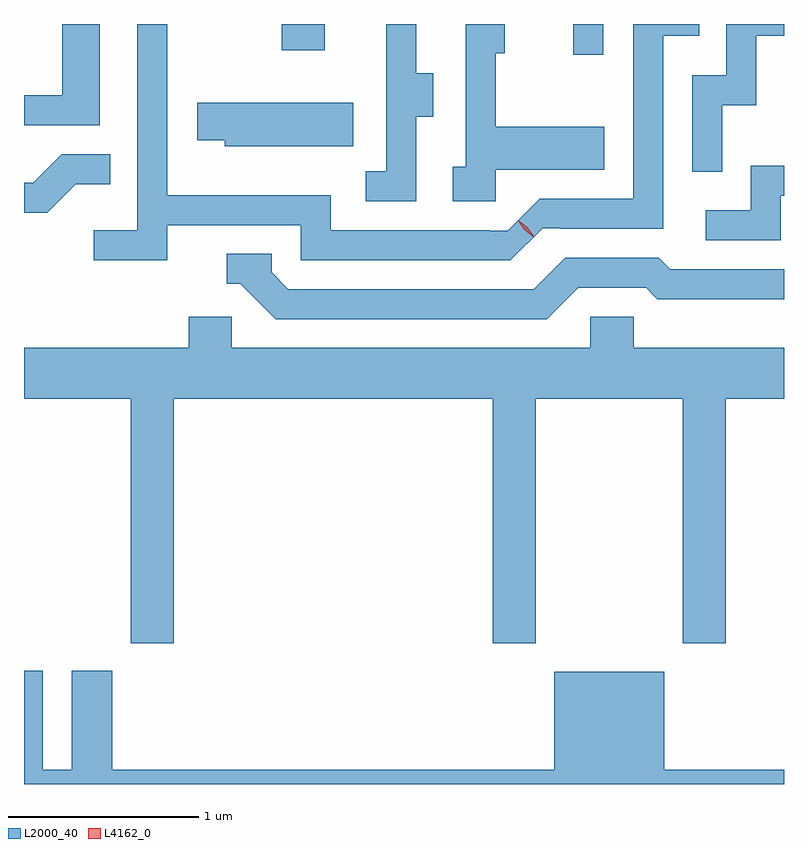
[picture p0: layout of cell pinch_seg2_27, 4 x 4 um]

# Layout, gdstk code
import gdstk
lib = gdstk.Library(unit=1e-6, precision=1e-09)
def R(c, l, rs):  # rectangles x0, y0, x1, y1
    for r in rs: c.add(gdstk.rectangle(r[:2], r[2:], *l))
def P(c, l, *ps):  # polygons
    for p in ps: c.add(gdstk.Polygon(p, *l))
L2000_40 = (2000, 40)
L4162_0 = (4162, 0)

pinch_seg2_27 = lib.new_cell('pinch_seg2_27')
R(pinch_seg2_27, L2000_40, [(1667.276,1041.248,1667.434,1041.409), (1665.741,1041.271,1665.969,1041.409)])
P(pinch_seg2_27, L2000_40, [(1666.449,1040.921),(1666.539,1040.921),(1666.539,1041.149),(1666.449,1041.149),(1666.449,1041.409),(1666.291,1041.409),(1666.291,1040.634),(1666.183,1040.634),(1666.183,1040.476),(1666.449,1040.476)],
  [(1666.869,1040.641),(1667.439,1040.641),(1667.439,1040.869),(1666.869,1040.869),(1666.869,1041.256),(1666.914,1041.256),(1666.914,1041.409),(1666.711,1041.409),(1666.711,1040.659),(1666.641,1040.659),(1666.641,1040.476),(1666.869,1040.476)],
  [(1665.139,1040.351),(1665.841,1040.351),(1665.841,1040.166),(1666.945,1040.166),(1667.114,1040.335),(1667.208,1040.335),(1667.208,1040.331),(1667.749,1040.331),(1667.749,1041.346),(1667.938,1041.346),(1667.938,1041.409),(1667.591,1041.409),(1667.591,1040.489),(1667.099,1040.489),(1666.93,1040.32),(1666.835,1040.32),(1666.835,1040.324),(1665.999,1040.324),(1665.999,1040.509),(1665.139,1040.509),(1665.139,1041.409),(1664.981,1041.409),(1664.981,1040.324),(1664.753,1040.324),(1664.753,1040.166),(1665.139,1040.166)],
  [(1664.784,1041.409),(1664.586,1041.409),(1664.586,1041.034),(1664.385,1041.034),(1664.385,1040.876),(1664.784,1040.876)],
  [(1668.059,1040.981),(1668.239,1040.981),(1668.239,1041.346),(1668.385,1041.346),(1668.385,1041.409),(1668.081,1041.409),(1668.081,1041.139),(1667.901,1041.139),(1667.901,1040.632),(1668.059,1040.632)],
  [(1666.119,1040.994),(1665.296,1040.994),(1665.296,1040.796),(1665.441,1040.796),(1665.441,1040.766),(1666.119,1040.766)],
  [(1664.657,1040.566),(1664.838,1040.566),(1664.838,1040.724),(1664.584,1040.724),(1664.434,1040.574),(1664.385,1040.574),(1664.385,1040.416),(1664.507,1040.416)],
  [(1668.369,1040.506),(1668.385,1040.506),(1668.385,1040.664),(1668.211,1040.664),(1668.211,1040.429),(1667.973,1040.429),(1667.973,1040.271),(1668.369,1040.271)],
  [(1667.302,1040.021),(1667.659,1040.021),(1667.719,1039.961),(1668.385,1039.961),(1668.385,1040.119),(1667.787,1040.119),(1667.727,1040.179),(1667.234,1040.179),(1667.069,1040.014),(1665.777,1040.014),(1665.689,1040.102),(1665.689,1040.199),(1665.453,1040.199),(1665.453,1040.041),(1665.524,1040.041),(1665.709,1039.856),(1667.137,1039.856)],
  [(1665.174,1039.436),(1666.851,1039.436),(1666.851,1038.151),(1667.079,1038.151),(1667.079,1039.436),(1667.851,1039.436),(1667.851,1038.151),(1668.079,1038.151),(1668.079,1039.436),(1668.385,1039.436),(1668.385,1039.704),(1667.594,1039.704),(1667.594,1039.869),(1667.366,1039.869),(1667.366,1039.704),(1665.479,1039.704),(1665.479,1039.869),(1665.251,1039.869),(1665.251,1039.704),(1664.385,1039.704),(1664.385,1039.436),(1664.946,1039.436),(1664.946,1038.151),(1665.174,1038.151)],
  [(1668.385,1037.484),(1667.754,1037.484),(1667.754,1037.999),(1667.176,1037.999),(1667.176,1037.484),(1664.849,1037.484),(1664.849,1038.004),(1664.636,1038.004),(1664.636,1037.484),(1664.484,1037.484),(1664.484,1038.004),(1664.385,1038.004),(1664.385,1037.409),(1668.385,1037.409)])
P(pinch_seg2_27, L4162_0, [(1667.066,1040.29),(1667.019,1040.326),(1666.986,1040.374),(1666.986,1040.375),(1666.986,1040.375),(1667.034,1040.339),(1667.067,1040.291),(1667.067,1040.29)],
  [(1667.064,1040.294),(1667.02,1040.326),(1666.989,1040.371),(1666.989,1040.372),(1666.99,1040.372),(1667.034,1040.34),(1667.065,1040.294),(1667.065,1040.294)])

lib.write_gds('pinch_seg2_27.gds')
